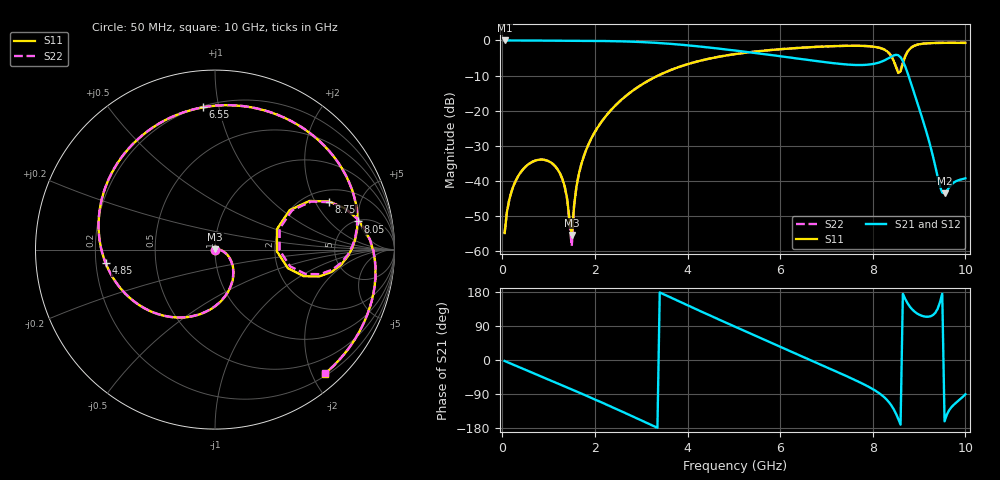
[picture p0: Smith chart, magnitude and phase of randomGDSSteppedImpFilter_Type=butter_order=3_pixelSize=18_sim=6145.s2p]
! freq	dB(S11)	phase(S11)	dB(S12)	phase(S12)
!  dB(S21)	phase(S21)	dB(S22)	phase(S22)
!S-par simulation data
#  GHz  S  DB  R 50
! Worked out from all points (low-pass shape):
!   200 points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, 50 MHz to 10 GHz, reference 50 ohm
!   highest |S21| = 0.00 dB at 50 MHz (marker M1); lowest = -43.5 dB at 9.55 GHz (marker M2)
!   |S21| within 3 dB of the highest: start of sweep to 5.111 GHz
!   lowest |S11| = -55.4 dB at 1.5 GHz (marker M3), VSWR 1.00, Z = 50 + j0.168 ohm
!   |S11| at or under -10 dB: start of sweep to 3.364 GHz
!   |S22| runs from -58.6 to -0.7 dB; largest |S21 - S12| = 0
!   S11 on the Smith chart (normalised r, x): 50 MHz: 1.00, -0.00; 4.85 GHz: 0.24, -0.06; 6.55 GHz: 0.21, +0.90; 8.05 GHz: 5.14, +4.69; 8.75 GHz: 2.56, +2.62; 10 GHz: 0.23, -2.20
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0.05  -54.81 -90.2  -0.00 -2.6  -0.00 -2.6  -54.85 -90.1
0.3  -39.65 -105.5  -0.01 -15.5  -0.01 -15.5  -39.68 -105.4
0.9  -33.96 -138.3  -0.05 -46.5  -0.05 -46.5  -33.98 -137.5
1.3  -39.51 -163.5  -0.07 -67.2  -0.07 -67.2  -39.59 -160.3
1.4  -44.99 -175.4  -0.08 -72.4  -0.08 -72.4  -45.24 -168.4
1.5  -55.37 80.6  -0.09 -77.6  -0.09 -77.6  -58.56 72.4
1.6  -41.74 16.9  -0.09 -82.9  -0.09 -82.9  -41.80 10.7
1.75  -33.37 2.9  -0.11 -90.8  -0.11 -90.8  -33.36 0.2
2.35  -19.78 -32.6  -0.19 -123.1  -0.19 -123.1  -19.78 -33.5
3.4  -9.77 -92.0  -0.75 178.2  -0.75 178.2  -9.77 -92.4
4.15  -6.20 -134.3  -1.57 136.0  -1.57 136.0  -6.19 -134.4
4.85  -4.24 -172.9  -2.59 97.4  -2.59 97.4  -4.24 -172.9
5.05  -3.84 176.2  -2.90 86.5  -2.90 86.5  -3.84 176.3
6.55  -1.99 94.9  -5.45 5.4  -5.45 5.4  -1.99 95.3
6.7  -1.88 86.7  -5.72 -2.7  -5.72 -2.7  -1.88 87.2
8.05  -1.83 11.2  -6.58 -80.5  -6.58 -80.5  -1.83 12.0
8.35  -3.60 -10.9  -4.99 -111.4  -4.99 -111.4  -3.56 -9.7
8.55  -9.25 -1.5  -4.20 -155.5  -4.20 -155.5  -8.89 -0.5
8.75  -3.22 22.8  -9.20 149.9  -9.20 149.9  -3.16 22.3
9  -1.10 -0.3  -19.30 119.8  -19.30 119.8  -1.09 -0.3
9.55  -0.67 -30.3  -43.52 -161.8  -43.52 -161.8  -0.67 -30.1
10  -0.69 -48.4  -39.24 -90.3  -39.24 -90.3  -0.69 -48.3
